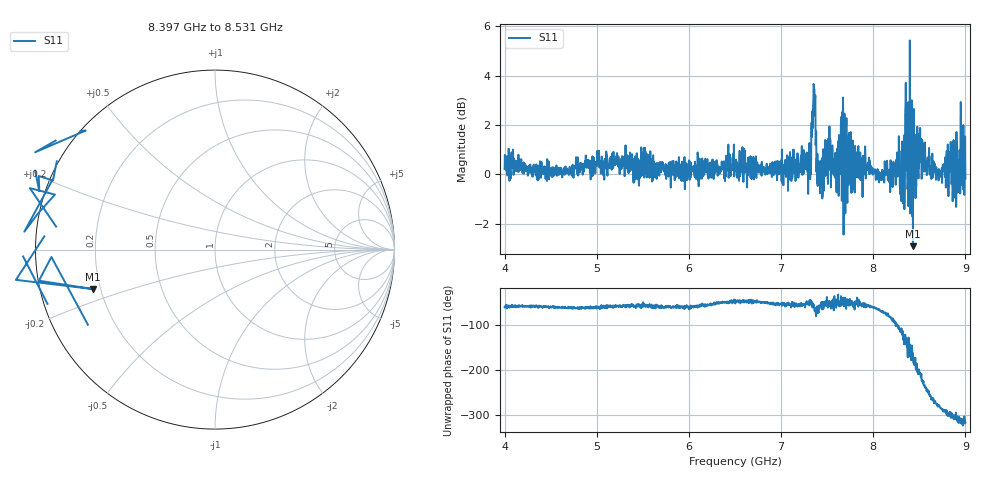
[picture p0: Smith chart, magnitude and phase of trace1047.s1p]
! Created with skrf 1.8.0 (http://scikit-rf.org).
# Hz S RI R 50.0
!freq ReS11 ImS11
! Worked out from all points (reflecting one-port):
!   1601 points, 4 GHz to 9 GHz, reference 50 ohm
!   lowest |S11| = -2.9 dB at 8.431 GHz (marker M1), VSWR 6.01, Z = 8.52 - j7.65 ohm
!   phase of S11 starts at -59 deg and turns -259 deg over the sweep
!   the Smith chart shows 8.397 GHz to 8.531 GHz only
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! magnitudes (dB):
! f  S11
! 4 GHz  0.2
! 4.625 GHz  -0.1
! 5.25 GHz  0.0
! 5.875 GHz  0.4
! 6.5 GHz  0.5
! 7.125 GHz  0.5
! 7.3 GHz  0.9
! 7.353 GHz  3.7
! 7.375 GHz  1.2
! 7.4 GHz  0.4
! 7.428 GHz  0.5
! 7.512 GHz  1.4
! 7.566 GHz  0.0
! 7.616 GHz  0.3
! 7.669 GHz  1.6
! 7.703 GHz  -0.1
! 7.75 GHz  0.3
! 7.784 GHz  -0.1
! 8.316 GHz  0.8
! 8.334 GHz  1.6
! 8.375 GHz  -0.4
! 8.431 GHz  -2.9
! 8.447 GHz  1.4
! 8.459 GHz  -1.0
! 8.522 GHz  1.1
! 8.725 GHz  -0.1
! 8.972 GHz  0.6
! 9 GHz  -0.2
